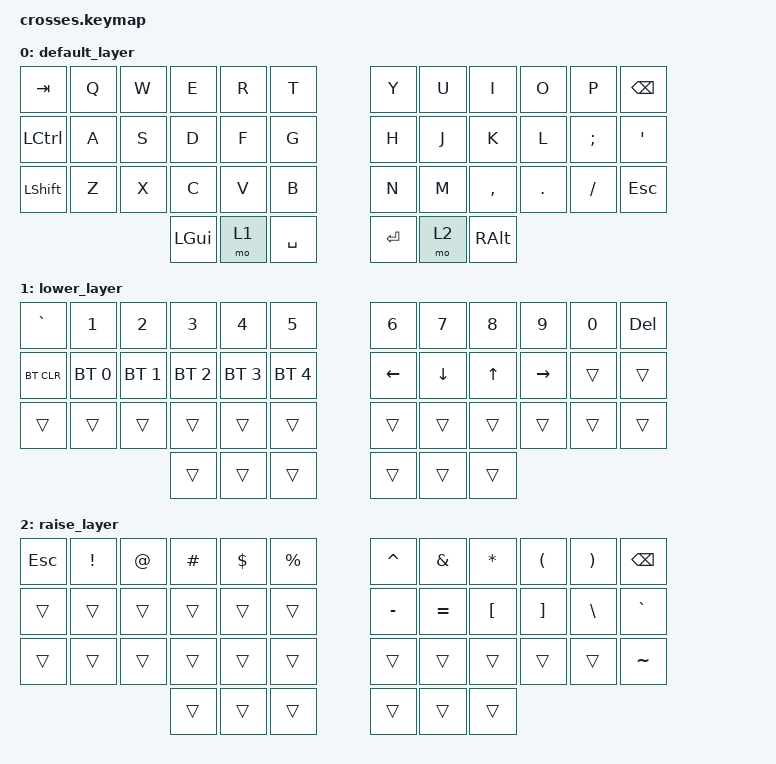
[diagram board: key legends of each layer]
#include <behaviors.dtsi>
#include <dt-bindings/zmk/keys.h>
#include <dt-bindings/zmk/bt.h>

/ {
    chosen { zmk,physical-layout = &gggw_crosses_42_layout; };

    keymap {
        compatible = "zmk,keymap";

        default_layer {
            bindings = <
                // Row 1 (12 keys)
                &kp TAB   &kp Q  &kp W  &kp E  &kp R  &kp T    &kp Y  &kp U  &kp I      &kp O    &kp P     &kp BSPC
                // Row 2 (12 keys)
                &kp LCTRL &kp A  &kp S  &kp D  &kp F  &kp G    &kp H  &kp J  &kp K      &kp L    &kp SEMI  &kp SQT
                // Row 3 (12 keys)
                &kp LSHFT &kp Z  &kp X  &kp C  &kp V  &kp B    &kp N  &kp M  &kp COMMA  &kp DOT  &kp FSLH  &kp ESC
                // Thumb cluster (6 keys)
                &kp LGUI  &mo 1  &kp SPACE                     &kp RET  &mo 2  &kp RALT
            >;
        };

        lower_layer {
            bindings = <
                &kp GRAVE   &kp N1        &kp N2        &kp N3        &kp N4        &kp N5          &kp N6    &kp N7    &kp N8    &kp N9    &kp N0    &kp DEL
                &bt BT_CLR  &bt BT_SEL 0  &bt BT_SEL 1  &bt BT_SEL 2  &bt BT_SEL 3  &bt BT_SEL 4    &kp LEFT  &kp DOWN  &kp UP    &kp RIGHT &trans    &trans
                &trans      &trans        &trans        &trans        &trans        &trans          &trans    &trans    &trans    &trans    &trans    &trans
                &trans      &trans        &trans                                                    &trans    &trans    &trans
            >;
        };

        raise_layer {
            bindings = <
                &kp ESC    &kp EXCL   &kp AT    &kp HASH  &kp DLLR  &kp PRCNT    &kp CARET  &kp AMPS   &kp STAR  &kp LPAR  &kp RPAR  &kp BSPC
                &trans     &trans     &trans    &trans    &trans    &trans       &kp MINUS  &kp EQUAL  &kp LBKT  &kp RBKT  &kp BSLH  &kp GRAVE
                &trans     &trans     &trans    &trans    &trans    &trans       &trans     &trans     &trans    &trans    &trans    &kp TILDE
                &trans     &trans     &trans                                     &trans     &trans     &trans
            >;
        };
    };
};
